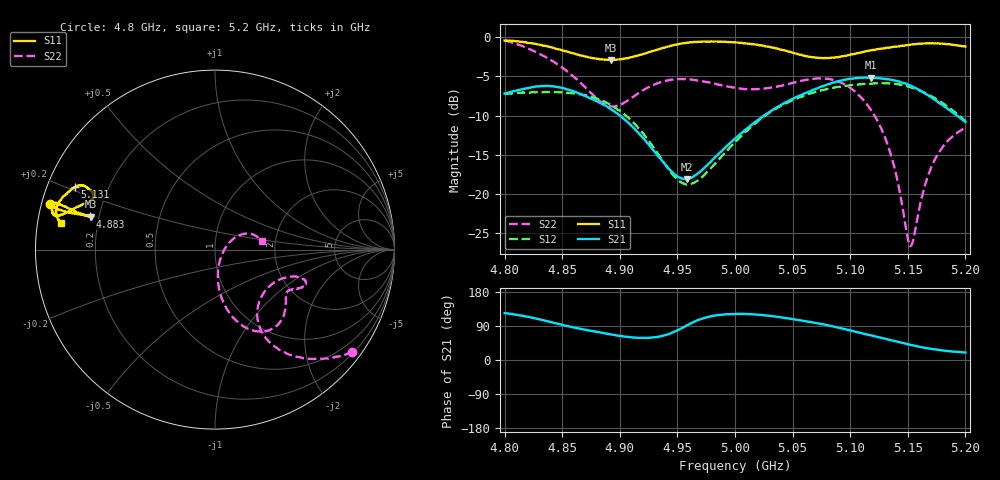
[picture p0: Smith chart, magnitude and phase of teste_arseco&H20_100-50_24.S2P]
! Network Analyzer HP8722D
! Hewlett-Packard
! Data name: Linha & Wilkinson
! Saver's name: Rodrigo Anjos
! Comments: Teste da utilização de aquisição
! continua pelo VNA HP8722D
! Time and date: 6/5/2025 12:46
!  Frequency  S11  S21  S12  S22
# HZ  S  MA R 50
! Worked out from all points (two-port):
!   401 points, 4.8 GHz to 5.2 GHz, reference 50 ohm
!   highest |S21| = -5.15 dB at 5.118 GHz (marker M1); lowest = -18.1 dB at 4.958 GHz (marker M2)
!   |S21| within 3 dB of the highest: start of sweep to 4.88 GHz; 5.046 GHz to 5.175 GHz (128.9 MHz wide, 2.52 % of centre)
!   lowest |S11| = -2.9 dB at 4.892 GHz (marker M3), VSWR 6.04, Z = 8.41 + j6.32 ohm
!   |S11| at or under -10 dB: nowhere
!   |S22| runs from -26.6 to -0.4 dB; largest |S21 - S12| = 0.71
!   S11 on the Smith chart (normalised r, x): 4.8 GHz: 0.02, +0.14; 4.883 GHz: 0.16, +0.13; 5.131 GHz: 0.08, +0.21; 5.2 GHz: 0.07, +0.09
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4.8e9  0.9523 164.4  0.4377 123.9  0.4351 18.9  0.9529 -36.6
4.833e9  0.8838 165.6  0.4889 105.4  0.4454 8.9  0.7635 -51.8
4.867e9  0.7619 165.2  0.4304 81.2  0.4313 -5.0  0.5024 -60.1
4.883e9  0.7215 165.2  0.3795 72.6  0.3987 -14.4  0.39 -51.8
4.892e9  0.716 165.2  0.349 67.7  0.3702 -20.0  0.3631 -41.4
4.91e9  0.7455 165.2  0.2728 59.8  0.2942 -30.2  0.4091 -23.2
4.934e9  0.8387 164.4  0.1719 61.5  0.1771 -32.8  0.5117 -18.3
4.958e9  0.9213 163.5  0.1245 91.1  0.115 -1.5  0.5389 -21.4
5e9  0.9273 167.3  0.2262 121.5  0.2147 39.9  0.4757 -28.1
5.033e9  0.8565 166.2  0.3457 115.4  0.3414 36.2  0.4784 -34.4
5.067e9  0.7453 158.6  0.4592 99.5  0.4416 22.0  0.5409 -47.6
5.094e9  0.7574 155.1  0.5327 82.4  0.4872 6.8  0.5056 -63.9
5.118e9  0.8256 154.3  0.5529 65.1  0.5054 -7.4  0.3443 -78.3
5.131e9  0.856 156.0  0.5415 55.6  0.5101 -15.9  0.2218 -84.2
5.134e9  0.8583 156.5  0.5371 53.4  0.507 -18.0  0.1919 -84.5
5.141e9  0.874 158.1  0.5244 48.4  0.5012 -22.8  0.1224 -82.1
5.15e9  0.8897 160.3  0.4982 41.6  0.4845 -29.0  0.05196 -48.5
5.153e9  0.8974 160.8  0.4882 39.5  0.4778 -30.9  0.04696 -18.7
5.164e9  0.9108 163.8  0.4423 32.5  0.445 -37.7  0.1081 29.4
5.172e9  0.9155 165.5  0.405 28.6  0.414 -42.1  0.1575 30.5
5.184e9  0.9025 167.9  0.3521 23.8  0.3634 -47.4  0.2155 24.1
5.2e9  0.8716 170.1  0.2887 19.9  0.2924 -52.1  0.2644 10.2
